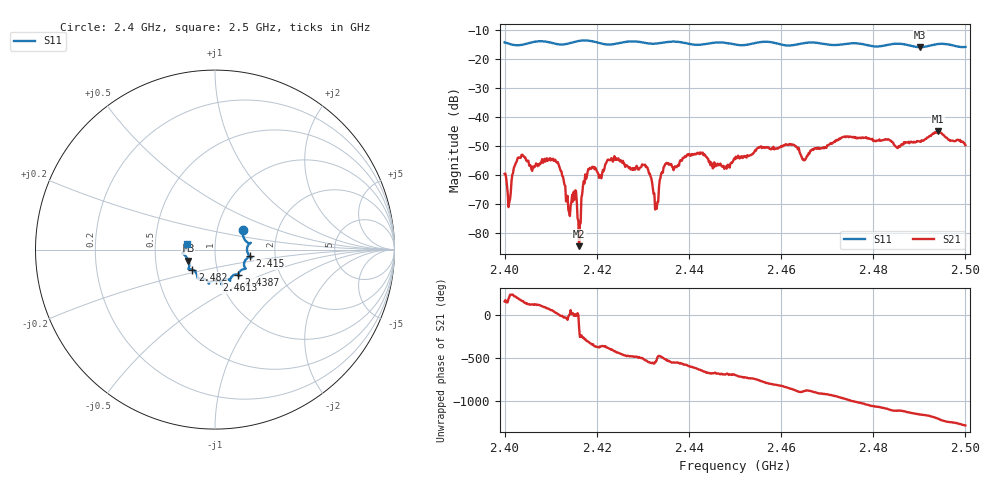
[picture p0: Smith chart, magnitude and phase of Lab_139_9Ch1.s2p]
# Hz S RI R 50
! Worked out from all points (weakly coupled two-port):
!   601 points, 2.4 GHz to 2.5 GHz, reference 50 ohm
!   highest |S21| = -45.01 dB at 2.494 GHz (marker M1); lowest = -84.7 dB at 2.4162 GHz (marker M2)
!   lowest |S11| = -15.9 dB at 2.4902 GHz (marker M3), VSWR 1.38, Z = 36.9 - j4.62 ohm
!   |S11| at or under -10 dB: start of sweep to end of sweep
!   S12 and S22 are empty: the file has one direction only
!   S11 on the Smith chart (normalised r, x): 2.4 GHz: 1.33, +0.31; 2.415 GHz: 1.47, -0.11; 2.4387 GHz: 1.24, -0.36; 2.4613 GHz: 0.96, -0.34; 2.482 GHz: 0.76, -0.17; 2.5 GHz: 0.73, +0.05
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2.4e9  0.1582 0.1118  -0.000957 0.000401  0 0  0 0
2.401e9  0.1556 0.0969  -0.000304 -0.000127  0 0  0 0
2.403333e9  0.1644 0.057  -0.00196 7.77e-05  0 0  0 0
2.410333e9  0.187 0.028  0.00104 0.00148  0 0  0 0
2.413833e9  0.1837 -0.0226  0.000235 -7.43e-05  0 0  0 0
2.415e9  0.1924 -0.0362  0.000505 -7.54e-05  0 0  0 0
2.416167e9  0.2011 -0.0429  -4.83e-05 -3.3e-05  0 0  0 0
2.416667e9  0.2034 -0.044  -0.000228 0.000327  0 0  0 0
2.4185e9  0.2018 -0.0413  0.0011 0.000735  0 0  0 0
2.423667e9  0.1619 -0.0807  0.00112 -0.00154  0 0  0 0
2.4305e9  0.1542 -0.1105  -0.00145 -0.000379  0 0  0 0
2.433333e9  0.1324 -0.1318  -0.00016 -0.000301  0 0  0 0
2.435e9  0.131 -0.1447  -0.00139 -0.0007  0 0  0 0
2.438667e9  0.1301 -0.1415  -0.00174 0.000896  0 0  0 0
2.45e9  0.0689 -0.1647  0.00168 0.000783  0 0  0 0
2.461333e9  0.00817 -0.1712  -0.0017 -0.00282  0 0  0 0
2.466667e9  -0.0346 -0.1904  -0.00262 -0.000728  0 0  0 0
2.482e9  -0.1261 -0.1114  0.00396 0.00025  0 0  0 0
2.483333e9  -0.1399 -0.1085  0.00398 -0.000939  0 0  0 0
2.490167e9  -0.1481 -0.0611  0.00109 -0.00355  0 0  0 0
2.494e9  -0.1804 -0.0221  -0.00282 -0.00486  0 0  0 0
2.5e9  -0.1584 0.0326  -0.00306 0.00108  0 0  0 0
